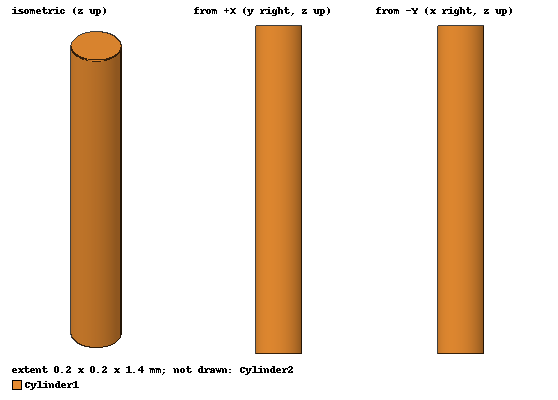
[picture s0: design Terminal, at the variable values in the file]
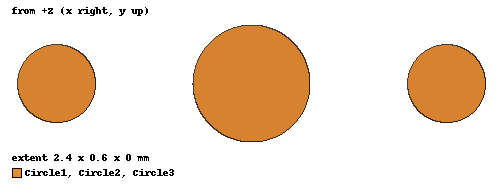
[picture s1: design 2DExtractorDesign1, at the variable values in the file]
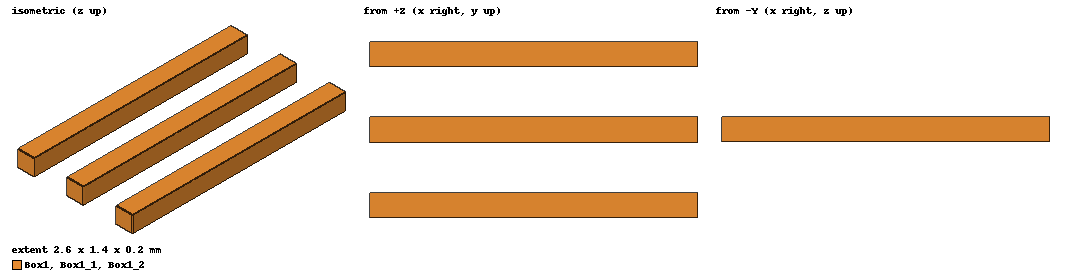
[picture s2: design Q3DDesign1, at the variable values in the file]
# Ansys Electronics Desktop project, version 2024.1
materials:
  vacuum: permittivity=1
  copper: permeability=0.999991 conductivity=58000000

design Terminal (HFSS, HFSS Terminal Network, model units mm)
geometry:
  Cylinder1 [copper] = cylinder(axis=Z, base_centre=(-0.1mm, 0mm, 0mm), radius=0.1mm, height=1.4mm)
  Cylinder2 [vacuum] = cylinder(axis=Z, base_centre=(-0.1mm, 0mm, 0mm), radius=0.2236068mm, height=1.4mm)
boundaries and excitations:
  Cylinder1_T1: Terminal port=1 Faces=Cylinder1.face(+z end) TerminalResistance=50ohm
  Cylinder1_T2: Terminal port=2 Faces=Cylinder1.face(-z end) TerminalResistance=50ohm
  1: Lumped Port Faces=Cylinder2.face(+z end) LumpedPortType=Terminal Impedance=50ohm
  2: Lumped Port Faces=Cylinder2.face(-z end) LumpedPortType=Terminal Impedance=50ohm
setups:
  Setup1: HfssDriven Frequency=1GHz MaxDeltaS=0.02 MaximumPasses=6 MinimumPasses=1 MinimumConvergedPasses=1 PercentRefinement=30 BasisOrder=1 PortAccuracy=2 DrivenSolverType="Direct Solver"
    sweep Sweep: 0.5GHz to 1.5GHz, 401 points; Type=Interpolating InterpTolerance=0.5 InterpMaxSolns=250 PassivityErrorTolerance=0.0001
  Setup2: HfssDriven Frequency=5GHz MaxDeltaS=0.02 MaximumPasses=6 MinimumPasses=1 MinimumConvergedPasses=1 PercentRefinement=30 BasisOrder=1 PortAccuracy=2 DrivenSolverType="Direct Solver"
    sweep Sweep: 2.5GHz to 7.5GHz, 401 points; Type=Interpolating InterpTolerance=0.5 InterpMaxSolns=250 InterpUseS=false
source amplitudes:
  1:1: 1V 0deg
  2:1: 0V 0deg

design 2DExtractorDesign1 (2D Extractor, Open, model units mm)
options: LumpedLength=1meter RiseTime=1ns DistribLengthUnits=meter Calculate_Lossy_Dielectrics
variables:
  r1 = 0.3mm
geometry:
  Circle1 [copper] = circle(normal=Z, centre=(0mm, 0mm, 0mm), radius=r1)
  Circle2 [copper] = circle(normal=Z, centre=(-1mm, 0mm, 0mm), radius=0.2mm)
  Circle3 [copper] = circle(normal=Z, centre=(1mm, 0mm, 0mm), radius=0.2mm)
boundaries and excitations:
  Circle2: SignalLine Objects=Circle2 SolveOption=SolveInside Thickness=-1000mm
  Circle3: SignalLine Objects=Circle3 SolveOption=SolveInside Thickness=-1000mm
  Circle1: ReferenceGround Objects=Circle1 SolveOption=SolveInside Thickness=-1000mm
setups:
  Setup1: 2DMatrix AdaptiveFreq=1GHz SaveFields CGDataBlock{MaxPass=10 MinPass=1 MinConvPass=1 PerError=1 PerRefine=30 Included PerErrorParamConv=1} RLDataBlock{MaxPass=10 MinPass=1 MinConvPass=1 PerError=1 PerRefine=30 Included PerErrorParamConv=1}
    sweep Sweep1: 0Hz to 0Hz, 1 points; 1Hz to 1GHz, log, 10 per decade; 1GHz to 10GHz, log, 3 per decade; Type=Discrete
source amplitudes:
  Circle2: CG Fields 1V 0deg
  Circle3: CG Fields 0V 0deg
  Circle2: RL Fields 1A 0deg
  Circle3: RL Fields 0A 0deg

design Q3DDesign1 (Q3D Extractor, model units mm)
options: SParamCalcMethod=EqTransLine Calculate_Lossy_Dielectrics
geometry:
  Box1 [copper] = box(corner=(0mm, -1.2mm, 0mm), size=(2.6mm, 0.2mm, 0.2mm))
  Box1_1, Box1_2 [copper] = Box1.duplicate_along_line(step=(0mm, 0.6mm, 0mm), total=3)
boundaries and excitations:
  Box1: SignalNet Objects=Box1
  Box1_1: SignalNet Objects=Box1_1
  Box1_2: SignalNet Objects=Box1_2
  Source1: Source Faces=Box1.face(+x) TerminalType=ConstantVoltage Net=Box1
  Source2: Source Faces=Box1_1.face(at (2.6, -0.5, 0.1)) TerminalType=ConstantVoltage Net=Box1_1
  Sink1: Sink Faces=Box1_2.face(at (2.6, 0.1, 0.1)) TerminalType=ConstantVoltage Net=Box1_2
  Sink2: Sink Faces=Box1.face(-x) TerminalType=ConstantVoltage Net=Box1
  Sink3: Sink Faces=Box1_2.face(at (0, 0.1, 0.1)) TerminalType=ConstantVoltage Net=Box1_2
  Sink4: Sink Faces=Box1_1.face(at (0, -0.5, 0.1)) TerminalType=ConstantVoltage Net=Box1_1
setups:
  Setup1: Matrix AdaptiveFreq=1GHz Cap{MaxPass=10 MinPass=1 MinConvPass=1 PerError=1 PerRefine=30 AutoIncreaseSolutionOrder SolutionOrder=High Solver_Type=Iterative} DC{Cond{MaxPass=10 MinPass=1 MinConvPass=1 PerError=1 PerRefine=30} Mult{MaxPass=1 MinPass=1 MinConvPass=1 PerError=1 PerRefine=30} Solution_Order=Normal} AC{MaxPass=10 MinPass=1 MinConvPass=1 PerError=1 PerRefine=30 ACRLSolverType=ACA} ErrorValue=0.1
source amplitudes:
  Box1_1:Source2: AC R/L Fields 0A
  Box1:Source1: AC R/L Fields 1A
  Box1: CG Fields 1V 0deg
  Box1_1, Box1_2: CG Fields 0V 0deg
  Box1_1:Source2: DC R/L Fields 0A
  Box1:Source1: DC R/L Fields 1A
